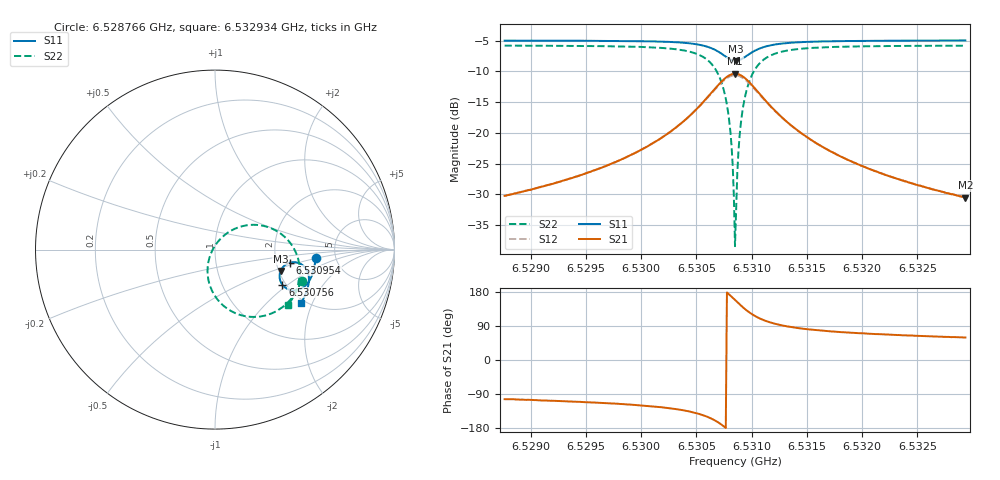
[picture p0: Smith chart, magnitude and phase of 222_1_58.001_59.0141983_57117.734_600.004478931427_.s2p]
#  HZ  S  RI  R  50.00
! Rohde & Schwarz Vector Network Analyzer
! Rohde-Schwarz,ZNB20-2Port,1311601062101988,3.16
! Created: UTC 3/21/2024, 1:00:11 AM
! freq[Hz]  re:S11  im:S11  re:S21  im:S21  re:S12  im:S12  re:S22  im:S22
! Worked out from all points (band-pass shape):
!   401 points, 6.528766 GHz to 6.532934 GHz, reference 50 ohm
!   highest |S21| = -10.37 dB at 6.53085 GHz (marker M1); lowest = -30.5 dB at 6.532934 GHz (marker M2)
!   |S21| within 3 dB of the highest: 6.530642 GHz to 6.531059 GHz (417.4 kHz wide, 0.00639 % of centre)
!   lowest |S11| = -8.3 dB at 6.53086 GHz (marker M3), VSWR 2.25, Z = 102 - j28.5 ohm
!   |S11| at or under -10 dB: nowhere
!   |S22| runs from -38.4 to -5.8 dB; largest |S21 - S12| = 0.012
!   S11 on the Smith chart (normalised r, x): 6.528766 GHz: 3.50, -0.50; 6.530756 GHz: 1.92, -0.91; 6.530954 GHz: 2.38, -0.42; 6.532934 GHz: 1.90, -1.66
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6.5287656e9  0.5604 -0.0485  -0.00714 -0.0299  -0.00764 -0.0298  0.4822 -0.1728
6.5294638e9  0.5511 -0.1067  -0.0161 -0.0427  -0.0172 -0.0423  0.451 -0.2366
6.530162e9  0.5242 -0.1764  -0.0493 -0.0733  -0.0516 -0.0719  0.3696 -0.3256
6.5304017e9  0.4979 -0.2068  -0.0887 -0.0927  -0.0915 -0.0895  0.2894 -0.3646
6.5305789e9  0.4549 -0.2267  -0.156 -0.0991  -0.1585 -0.0928  0.1647 -0.3702
6.5306831e9  0.4104 -0.2222  -0.2251 -0.0732  -0.2243 -0.0637  0.0489 -0.3144
6.530756e9  0.3754 -0.1956  -0.2756 -0.0153  -0.27 -0.00542  -0.0258 -0.2074
6.5307977e9  0.3622 -0.1681  -0.2916 0.037  -0.2826 0.0451  -0.0417 -0.1179
6.5308186e9  0.3596 -0.1521  -0.292 0.0668  -0.2821 0.0733  -0.037 -0.0692
6.530829e9  0.3597 -0.1436  -0.2902 0.0819  -0.2799 0.0875  -0.0309 -0.0449
6.5308394e9  0.3608 -0.1352  -0.2868 0.0968  -0.276 0.1017  -0.0224 -0.0211
6.5308498e9  0.3626 -0.1269  -0.2818 0.1115  -0.271 0.1152  -0.0118 0.00214
6.5308603e9  0.3653 -0.1188  -0.2755 0.1255  -0.2647 0.1283  0.00132 0.024
6.5308707e9  0.369 -0.1111  -0.2678 0.139  -0.2571 0.1408  0.0165 0.0442
6.5308915e9  0.3784 -0.0974  -0.2491 0.1627  -0.2389 0.1629  0.0514 0.0794
6.5309019e9  0.384 -0.0915  -0.2382 0.1728  -0.2286 0.1723  0.0709 0.0942
6.5309541e9  0.4165 -0.0728  -0.1787 0.2047  -0.1718 0.2018  0.1749 0.1352
6.531027e9  0.4591 -0.0723  -0.1043 0.2068  -0.1007 0.2038  0.2999 0.1238
6.5311312e9  0.4963 -0.0941  -0.04 0.1764  -0.0384 0.1747  0.4028 0.0565
6.5315481e9  0.5236 -0.1733  0.0152 0.0852  0.0163 0.085  0.4724 -0.1343
6.5322463e9  0.5056 -0.245  0.0174 0.0409  0.0182 0.0406  0.443 -0.2492
6.5329341e9  0.48 -0.2969  0.0152 0.0257  0.0158 0.0254  0.4078 -0.3095
